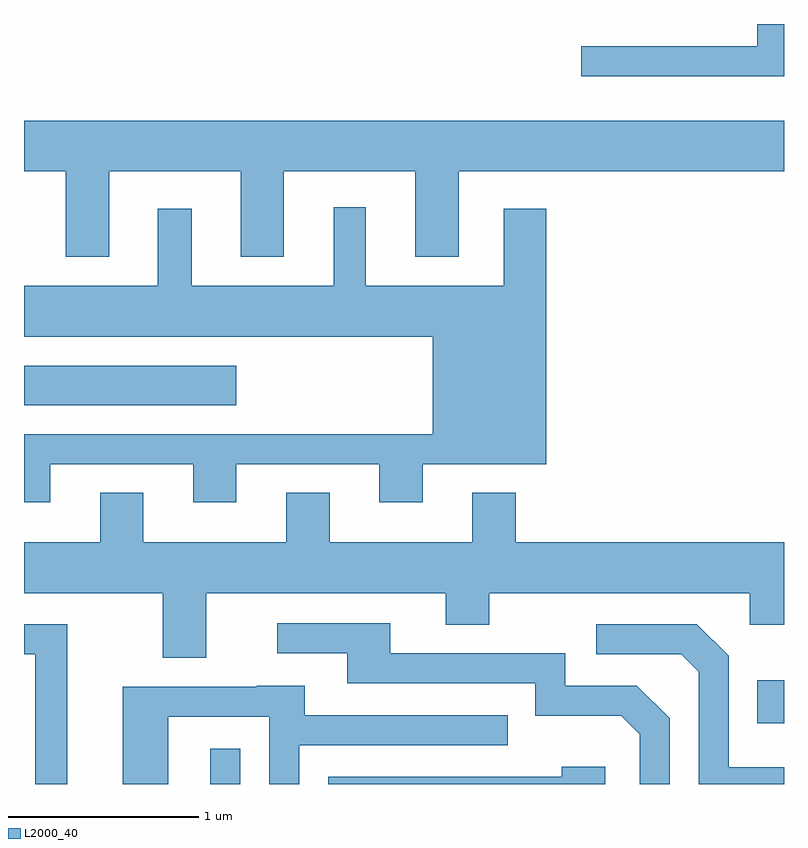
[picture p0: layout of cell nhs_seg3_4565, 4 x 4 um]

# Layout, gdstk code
import gdstk
lib = gdstk.Library(unit=1e-6, precision=1e-09)
def R(c, l, rs):  # rectangles x0, y0, x1, y1
    for r in rs: c.add(gdstk.rectangle(r[:2], r[2:], *l))
def P(c, l, *ps):  # polygons
    for p in ps: c.add(gdstk.Polygon(p, *l))
L2000_40 = (2000, 40)

nhs_seg3_4565 = lib.new_cell('nhs_seg3_4565')
R(nhs_seg3_4565, L2000_40, [(320.591,1133.892,320.749,1134.078), (323.471,1134.211,323.611,1134.439), (319.611,1135.886,320.729,1136.094)])
P(nhs_seg3_4565, L2000_40, [(323.611,1137.892),(323.471,1137.892),(323.471,1137.774),(322.543,1137.774),(322.543,1137.616),(323.611,1137.616)],
  [(320.059,1137.116),(320.751,1137.116),(320.751,1136.666),(320.979,1136.666),(320.979,1137.116),(321.671,1137.116),(321.671,1136.666),(321.899,1136.666),(321.899,1137.116),(323.611,1137.116),(323.611,1137.384),(319.611,1137.384),(319.611,1137.116),(319.831,1137.116),(319.831,1136.666),(320.059,1136.666)],
  [(319.749,1135.576),(320.501,1135.576),(320.501,1135.376),(320.729,1135.376),(320.729,1135.576),(321.481,1135.576),(321.481,1135.376),(321.709,1135.376),(321.709,1135.576),(322.359,1135.576),(322.359,1136.919),(322.136,1136.919),(322.136,1136.514),(321.409,1136.514),(321.409,1136.928),(321.241,1136.928),(321.241,1136.514),(320.494,1136.514),(320.494,1136.919),(320.316,1136.919),(320.316,1136.514),(319.611,1136.514),(319.611,1136.246),(321.761,1136.246),(321.761,1135.734),(319.611,1135.734),(319.611,1135.376),(319.749,1135.376)],
  [(322.059,1134.896),(323.431,1134.896),(323.431,1134.731),(323.611,1134.731),(323.611,1135.164),(322.199,1135.164),(322.199,1135.424),(321.971,1135.424),(321.971,1135.164),(321.219,1135.164),(321.219,1135.424),(320.991,1135.424),(320.991,1135.164),(320.239,1135.164),(320.239,1135.424),(320.011,1135.424),(320.011,1135.164),(319.611,1135.164),(319.611,1134.896),(320.341,1134.896),(320.341,1134.556),(320.569,1134.556),(320.569,1134.896),(321.831,1134.896),(321.831,1134.731),(322.059,1134.731)],
  [(323.009,1134.237),(322.837,1134.409),(322.459,1134.409),(322.459,1134.579),(321.539,1134.579),(321.539,1134.739),(320.943,1134.739),(320.943,1134.581),(321.311,1134.581),(321.311,1134.421),(322.301,1134.421),(322.301,1134.251),(322.754,1134.251),(322.851,1134.154),(322.851,1133.892),(323.009,1133.892)],
  [(319.839,1134.734),(319.611,1134.734),(319.611,1134.576),(319.671,1134.576),(319.671,1133.892),(319.839,1133.892)],
  [(323.611,1133.979),(323.319,1133.979),(323.319,1134.567),(323.152,1134.734),(322.623,1134.734),(322.623,1134.576),(323.069,1134.576),(323.161,1134.484),(323.161,1133.892),(323.611,1133.892)],
  [(320.369,1134.246),(320.901,1134.246),(320.901,1133.892),(321.059,1133.892),(321.059,1134.096),(322.158,1134.096),(322.158,1134.254),(321.089,1134.254),(321.089,1134.409),(320.835,1134.409),(320.835,1134.404),(320.131,1134.404),(320.131,1133.892),(320.369,1133.892)],
  [(322.669,1133.984),(322.441,1133.984),(322.441,1133.929),(321.211,1133.929),(321.211,1133.892),(322.669,1133.892)])

lib.write_gds('nhs_seg3_4565.gds')
